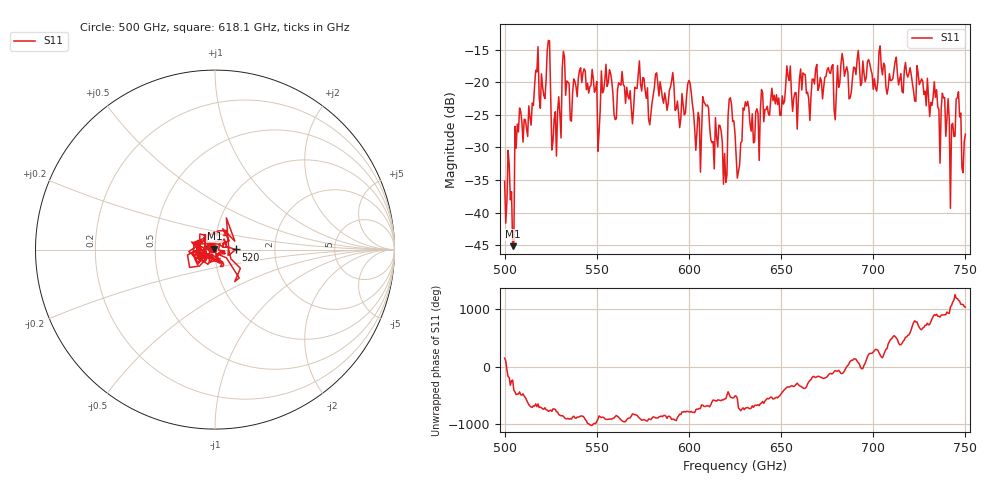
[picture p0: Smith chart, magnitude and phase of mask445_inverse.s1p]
!Created with skrf (http://scikit-rf.org).
# GHz S MA R 50.0
!freq magS11 angS11
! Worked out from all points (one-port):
!   401 points, 500 GHz to 750 GHz, reference 50 ohm
!   lowest |S11| = -45.1 dB at 504.4 GHz (marker M1), VSWR 1.01, Z = 49.7 + j0.451 ohm
!   |S11| at or under -10 dB: start of sweep to end of sweep
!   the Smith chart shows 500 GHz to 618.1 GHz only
!   S11 on the Smith chart (normalised r, x): 500 GHz: 0.97, +0.02; 520 GHz: 1.26, +0.00; 618.1 GHz: 0.95, +0.04
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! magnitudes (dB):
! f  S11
! 500 GHz  -35.2
! 504.4 GHz  -45.1
! 506.9 GHz  -26.4
! 520 GHz  -18.7
! 523.8 GHz  -13.6
! 526.9 GHz  -25.7
! 531.2 GHz  -18.0
! 542.5 GHz  -18.6
! 550.6 GHz  -30.6
! 562.5 GHz  -20.3
! 590.6 GHz  -19.8
! 593.8 GHz  -22.9
! 600 GHz  -19.7
! 605 GHz  -24.6
! 608.8 GHz  -23.3
! 618.1 GHz  -29.2
! 620 GHz  -35.4
! 622.5 GHz  -22.4
! 625 GHz  -27.9
! 627.5 GHz  -32.7
! 630.6 GHz  -23.0
! 634.4 GHz  -24.8
! 656.2 GHz  -24.5
! 687.5 GHz  -22.4
! 718.8 GHz  -19.2
! 743.1 GHz  -26.3
! 746.2 GHz  -21.5
! 750 GHz  -28.0
